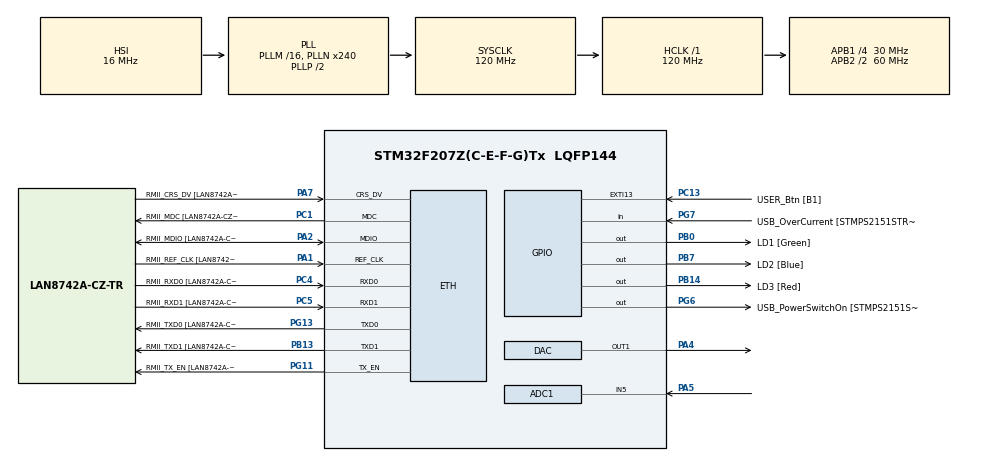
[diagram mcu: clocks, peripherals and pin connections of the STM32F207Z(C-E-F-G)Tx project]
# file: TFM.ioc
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ADC1.Channel-1\#ChannelRegularConversion=ADC_CHANNEL_5
ADC1.NbrOfConversionFlag=1
ADC1.Rank-1\#ChannelRegularConversion=1
ADC1.SamplingTime-1\#ChannelRegularConversion=ADC_SAMPLETIME_3CYCLES
ADC1.master=1
ETH.MACAddr=56\:CD\:43\:54\:4F\:52
ETH.MediaInterface=ETH_MEDIA_INTERFACE_RMII
ETH.PhyAddress=0
LWIP.GATEWAY_ADDRESS=016.000.000.001
LWIP.IP_ADDRESS=016.000.000.016
LWIP.LWIP_DHCP=0
LWIP.LWIP_STATS=1
LWIP.NETMASK_ADDRESS=255.255.255.000
LWIP.Version=v2.0.3_Cube
Mcu.Family=STM32F2
Mcu.Name=STM32F207Z(C-E-F-G)Tx
Mcu.Package=LQFP144
NVIC.ETH_IRQn=true\:0\:0\:false\:false\:true\:true\:true\:true
NVIC.PriorityGroup=NVIC_PRIORITYGROUP_4
NVIC.TIM2_IRQn=true\:1\:0\:true\:false\:true\:true\:true\:true
PA1.GPIO_Label=RMII_REF_CLK [LAN8742A-CZ-TR_REFCLK0]
PA1.Mode=RMII
PA1.Signal=ETH_REF_CLK
PA10.GPIO_Label=USB_ID
PA10.Signal=USB_OTG_FS_ID
PA11.GPIO_Label=USB_DM
PA11.Signal=USB_OTG_FS_DM
PA12.GPIO_Label=USB_DP
PA12.Signal=USB_OTG_FS_DP
PA13.GPIO_Label=TMS
PA13.Signal=SYS_JTMS-SWDIO
PA14.GPIO_Label=TCK
PA14.Signal=SYS_JTCK-SWCLK
PA2.GPIO_Label=RMII_MDIO [LAN8742A-CZ-TR_MDIO]
PA2.Mode=RMII
PA2.Signal=ETH_MDIO
PA4.Signal=COMP_DAC1_group
PA5.Signal=ADCx_IN5
PA7.GPIO_Label=RMII_CRS_DV [LAN8742A-CZ-TR_CRS_DV]
PA7.Mode=RMII
PA7.Signal=ETH_CRS_DV
PA8.GPIO_Label=USB_SOF [TP1]
PA8.Signal=USB_OTG_FS_SOF
PA9.GPIO_Label=USB_VBUS
PA9.Signal=USB_OTG_FS_VBUS
PB0.GPIO_Label=LD1 [Green]
PB0.Signal=GPIO_Output
PB13.GPIO_Label=RMII_TXD1 [LAN8742A-CZ-TR_TXD1]
PB13.Mode=RMII
PB13.Signal=ETH_TXD1
PB14.GPIO_Label=LD3 [Red]
PB14.Signal=GPIO_Output
PB3.GPIO_Label=SWO
PB3.Signal=SYS_JTDO-SWO
PB7.GPIO_Label=LD2 [Blue]
PB7.Signal=GPIO_Output
PC1.GPIO_Label=RMII_MDC [LAN8742A-CZ-TR_MDC]
PC1.Mode=RMII
PC1.Signal=ETH_MDC
PC13.GPIO_Label=USER_Btn [B1]
PC13.Signal=GPXTI13
PC14-OSC32_IN.Signal=RCC_OSC32_IN
PC15-OSC32_OUT.Signal=RCC_OSC32_OUT
PC4.GPIO_Label=RMII_RXD0 [LAN8742A-CZ-TR_RXD0]
PC4.Mode=RMII
PC4.Signal=ETH_RXD0
PC5.GPIO_Label=RMII_RXD1 [LAN8742A-CZ-TR_RXD1]
PC5.Mode=RMII
PC5.Signal=ETH_RXD1
PD8.GPIO_Label=STLK_RX [STM32F103CBT6_PA3]
PD8.Signal=USART3_TX
PD9.GPIO_Label=STLK_TX [STM32F103CBT6_PA2]
PD9.Signal=USART3_RX
PG11.GPIO_Label=RMII_TX_EN [LAN8742A-CZ-TR_TXEN]
PG11.Mode=RMII
PG11.Signal=ETH_TX_EN
PG13.GPIO_Label=RMII_TXD0 [LAN8742A-CZ-TR_TXD0]
PG13.Mode=RMII
PG13.Signal=ETH_TXD0
PG6.GPIO_Label=USB_PowerSwitchOn [STMPS2151STR_EN]
PG6.Signal=GPIO_Output
PG7.GPIO_Label=USB_OverCurrent [STMPS2151STR_FAULT]
PG7.Signal=GPIO_Input
PH0-OSC_IN.GPIO_Label=MCO [STM32F103CBT6_PA8]
PH0-OSC_IN.Signal=RCC_OSC_IN
PH1-OSC_OUT.Signal=RCC_OSC_OUT
ProjectManager.HeapSize=0x200
ProjectManager.StackSize=0x400
ProjectManager.TargetToolchain=STM32CubeIDE
RCC.48MHZClocksFreq_Value=60000000
RCC.AHBFreq_Value=120000000
RCC.APB1CLKDivider=RCC_HCLK_DIV4
RCC.APB1Freq_Value=30000000
RCC.APB1TimFreq_Value=60000000
RCC.APB2CLKDivider=RCC_HCLK_DIV2
RCC.APB2Freq_Value=60000000
RCC.APB2TimFreq_Value=120000000
RCC.CortexFreq_Value=120000000
RCC.HCLKFreq_Value=120000000
RCC.HSE_VALUE=8000000
RCC.HSI_VALUE=16000000
RCC.LSE_VALUE=32768
RCC.PLLMUL=RCC_PLL_MUL9
RCC.PLLN=240
RCC.PRESCALERUSB=RCC_USBCLKSOURCE_PLL_DIV1_5
RCC.SYSCLKFreq_VALUE=120000000
RCC.SYSCLKSource=RCC_SYSCLKSOURCE_PLLCLK
RCC.SYSCLKSourceVirtual=RCC_SYSCLKSOURCE_PLLCLK
RCC.USBFreq_Value=48000000
RCC.VCOOutputFreq_Value=240000000
SH.ADCx_IN5.0=ADC1_IN5,IN5
SH.COMP_DAC1_group.0=DAC_OUT1,DAC_OUT1
TIM2.Period=249
TIM2.Prescaler=399
VP_LWIP_VS_Enabled.Mode=Enabled
VP_TIM2_VS_ClockSourceINT.Mode=Internal
board=NUCLEO-F207ZG

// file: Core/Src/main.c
/* USER CODE BEGIN Header */
/**
 ******************************************************************************
 * @file           : main.c
 * @brief          : Main program body
 ******************************************************************************
 * @attention
 *
 * Copyright (c) 2023 STMicroelectronics.
 * All rights reserved.
 *
 * This software is licensed under terms that can be found in the LICENSE file
 * in the root directory of this software component.
 * If no LICENSE file comes with this software, it is provided AS-IS.
 *
 ******************************************************************************
 */
/* USER CODE END Header */
#include "main.h"
#include "lwip.h"

/* USER CODE BEGIN Includes */
#include <math.h>
#include "WaveGenerator.h"
/* USER CODE END Includes */

ADC_HandleTypeDef hadc1;

DAC_HandleTypeDef hdac;

TIM_HandleTypeDef htim2;

/* USER CODE BEGIN PV */

extern float sIdx; /* Sample index of DAC */
extern union {
	uint8_t ii;
	uint64_t safeMem;
} mIdx;/* Index where is stored the data measured */
extern float buffSamples[256]; /* Variable where store the samples */
extern uint16_t ADCcount; /* Count to divide the ADC sampling frequency */

extern float sampleFreq; /* Sampling DAC-ADC frequency */

extern bool flagEndTest; /* Indicates the end of the test */

extern struct waveGeneratorInfo {
	uint32_t ARR; /* Auto Reload Register for TIM2 */
	uint32_t PSC; /* Pre-scaler for TIM2 */
	float actualFreq; /* TIM2 frequency in function of ARR and PSC */
	uint8_t numPtos; /* Number of points per cycle in initialization, and while testing the number of dataOuts stored*/
	float sampleFreq; /* Sampling DAC-ADC frequency */
	float actualAmp;
	uint16_t dataOut[INIT_PTOS];

};

extern uint8_t indexDataOut; /* Index to waveGeneratorInfo.dataOut[] */

extern struct waveGeneratorInfo wgD[180]; /* This vector has all step data */

extern uint8_t tstStep; /* Index to restore the step test data*/

uint32_t dataIn; /* To store adc measures */

/* USER CODE END PV */

void SystemClock_Config(void);
static void MX_GPIO_Init(void);
static void MX_ADC1_Init(void);
static void MX_DAC_Init(void);
static void MX_TIM2_Init(void);

int main(void) {

	/* MCU Configuration--------------------------------------------------------*/

	/* Reset of all peripherals, Initializes the Flash interface and the Systick. */
	HAL_Init();

	/* Configure the system clock */
	SystemClock_Config();

	/* Initialize all configured peripherals */
	MX_GPIO_Init();
	MX_LWIP_Init();
	MX_ADC1_Init();
	MX_DAC_Init();
	MX_TIM2_Init();
	/* USER CODE BEGIN 2 */

	ptrHWparams ptrHWp;
	ptrHWp.ptrHadc1 = &hadc1;
	ptrHWp.ptrHdac = &hdac;

	/* Pre calculates all test timer parameters */
	WG.Initialice();

	udpServer_init((void*) &ptrHWp);

	/* USER CODE END 2 */
	HAL_GPIO_TogglePin(GPIOB, GPIO_PIN_7);
	/* Infinite loop */
	while (1) {

		/* USER CODE BEGIN 3 */
		MX_LWIP_Process();
	}
	/* USER CODE END 3 */
}

void SystemClock_Config(void) {
	RCC_OscInitTypeDef RCC_OscInitStruct = { 0 };
	RCC_ClkInitTypeDef RCC_ClkInitStruct = { 0 };

	/** Initializes the RCC Oscillators according to the specified parameters
	 * in the RCC_OscInitTypeDef structure.
	 */
	RCC_OscInitStruct.OscillatorType = RCC_OSCILLATORTYPE_HSI;
	RCC_OscInitStruct.HSIState = RCC_HSI_ON;
	RCC_OscInitStruct.HSICalibrationValue = RCC_HSICALIBRATION_DEFAULT;
	RCC_OscInitStruct.PLL.PLLState = RCC_PLL_ON;
	RCC_OscInitStruct.PLL.PLLSource = RCC_PLLSOURCE_HSI;
	RCC_OscInitStruct.PLL.PLLM = 16;
	RCC_OscInitStruct.PLL.PLLN = 240;
	RCC_OscInitStruct.PLL.PLLP = RCC_PLLP_DIV2;
	RCC_OscInitStruct.PLL.PLLQ = 4;
	if (HAL_RCC_OscConfig(&RCC_OscInitStruct) != HAL_OK) {
		Error_Handler();
	}

	/** Initializes the CPU, AHB and APB buses clocks
	 */
	RCC_ClkInitStruct.ClockType = RCC_CLOCKTYPE_HCLK | RCC_CLOCKTYPE_SYSCLK
			| RCC_CLOCKTYPE_PCLK1 | RCC_CLOCKTYPE_PCLK2;
	RCC_ClkInitStruct.SYSCLKSource = RCC_SYSCLKSOURCE_PLLCLK;
	RCC_ClkInitStruct.AHBCLKDivider = RCC_SYSCLK_DIV1;
	RCC_ClkInitStruct.APB1CLKDivider = RCC_HCLK_DIV4;
	RCC_ClkInitStruct.APB2CLKDivider = RCC_HCLK_DIV2;

	if (HAL_RCC_ClockConfig(&RCC_ClkInitStruct, FLASH_LATENCY_3) != HAL_OK) {
		Error_Handler();
	}
}

static void MX_ADC1_Init(void) {

	ADC_ChannelConfTypeDef sConfig = { 0 };

	/** Configure the global features of the ADC (Clock, Resolution, Data Alignment and number of conversion)
	 */
	hadc1.Instance = ADC1;
	hadc1.Init.ClockPrescaler = ADC_CLOCK_SYNC_PCLK_DIV2;
	hadc1.Init.Resolution = ADC_RESOLUTION_12B;
	hadc1.Init.ScanConvMode = DISABLE;
	hadc1.Init.ContinuousConvMode = DISABLE;
	hadc1.Init.DiscontinuousConvMode = DISABLE;
	hadc1.Init.ExternalTrigConvEdge = ADC_EXTERNALTRIGCONVEDGE_NONE;
	hadc1.Init.ExternalTrigConv = ADC_SOFTWARE_START;
	hadc1.Init.DataAlign = ADC_DATAALIGN_RIGHT;
	hadc1.Init.NbrOfConversion = 1;
	hadc1.Init.DMAContinuousRequests = DISABLE;
	hadc1.Init.EOCSelection = ADC_EOC_SINGLE_CONV;
	if (HAL_ADC_Init(&hadc1) != HAL_OK) {
		Error_Handler();
	}

	/** Configure for the selected ADC regular channel its corresponding rank in the sequencer and its sample time.
	 */
	sConfig.Channel = ADC_CHANNEL_5;
	sConfig.Rank = 1;
	sConfig.SamplingTime = ADC_SAMPLETIME_3CYCLES;
	if (HAL_ADC_ConfigChannel(&hadc1, &sConfig) != HAL_OK) {
		Error_Handler();
	}

}

static void MX_DAC_Init(void) {

	DAC_ChannelConfTypeDef sConfig = { 0 };

	/** DAC Initialization
	 */
	hdac.Instance = DAC;
	if (HAL_DAC_Init(&hdac) != HAL_OK) {
		Error_Handler();
	}

	/** DAC channel OUT1 config
	 */
	sConfig.DAC_Trigger = DAC_TRIGGER_NONE;
	sConfig.DAC_OutputBuffer = DAC_OUTPUTBUFFER_ENABLE;
	if (HAL_DAC_ConfigChannel(&hdac, &sConfig, DAC_CHANNEL_1) != HAL_OK) {
		Error_Handler();
	}

}

static void MX_TIM2_Init(void) {

	TIM_ClockConfigTypeDef sClockSourceConfig = { 0 };
	TIM_MasterConfigTypeDef sMasterConfig = { 0 };

	htim2.Instance = TIM2;
	htim2.Init.Prescaler = 399;
	htim2.Init.CounterMode = TIM_COUNTERMODE_UP;
	htim2.Init.Period = 249;
	htim2.Init.ClockDivision = TIM_CLOCKDIVISION_DIV1;
	htim2.Init.AutoReloadPreload = TIM_AUTORELOAD_PRELOAD_DISABLE;
	if (HAL_TIM_Base_Init(&htim2) != HAL_OK) {
		Error_Handler();
	}
	sClockSourceConfig.ClockSource = TIM_CLOCKSOURCE_INTERNAL;
	if (HAL_TIM_ConfigClockSource(&htim2, &sClockSourceConfig) != HAL_OK) {
		Error_Handler();
	}
	sMasterConfig.MasterOutputTrigger = TIM_TRGO_RESET;
	sMasterConfig.MasterSlaveMode = TIM_MASTERSLAVEMODE_DISABLE;
	if (HAL_TIMEx_MasterConfigSynchronization(&htim2, &sMasterConfig)
			!= HAL_OK) {
		Error_Handler();
	}

}

static void MX_GPIO_Init(void) {
	GPIO_InitTypeDef GPIO_InitStruct = { 0 };

	/* GPIO Ports Clock Enable */
	__HAL_RCC_GPIOC_CLK_ENABLE();
	__HAL_RCC_GPIOH_CLK_ENABLE();
	__HAL_RCC_GPIOA_CLK_ENABLE();
	__HAL_RCC_GPIOB_CLK_ENABLE();
	__HAL_RCC_GPIOD_CLK_ENABLE();
	__HAL_RCC_GPIOG_CLK_ENABLE();

	/*Configure GPIO pin Output Level */
	HAL_GPIO_WritePin(GPIOB, LD1_Pin | LD3_Pin | LD2_Pin, GPIO_PIN_RESET);

	/*Configure GPIO pin Output Level */
	HAL_GPIO_WritePin(USB_PowerSwitchOn_GPIO_Port, USB_PowerSwitchOn_Pin,
			GPIO_PIN_RESET);

	/*Configure GPIO pin : USER_Btn_Pin */
	GPIO_InitStruct.Pin = USER_Btn_Pin;
	GPIO_InitStruct.Mode = GPIO_MODE_IT_RISING;
	GPIO_InitStruct.Pull = GPIO_NOPULL;
	HAL_GPIO_Init(USER_Btn_GPIO_Port, &GPIO_InitStruct);

	/*Configure GPIO pins : LD1_Pin LD3_Pin LD2_Pin */
	GPIO_InitStruct.Pin = LD1_Pin | LD3_Pin | LD2_Pin;
	GPIO_InitStruct.Mode = GPIO_MODE_OUTPUT_PP;
	GPIO_InitStruct.Pull = GPIO_NOPULL;
	GPIO_InitStruct.Speed = GPIO_SPEED_FREQ_LOW;
	HAL_GPIO_Init(GPIOB, &GPIO_InitStruct);

	/*Configure GPIO pins : STLK_RX_Pin STLK_TX_Pin */
	GPIO_InitStruct.Pin = STLK_RX_Pin | STLK_TX_Pin;
	GPIO_InitStruct.Mode = GPIO_MODE_AF_PP;
	GPIO_InitStruct.Pull = GPIO_NOPULL;
	GPIO_InitStruct.Speed = GPIO_SPEED_FREQ_VERY_HIGH;
	GPIO_InitStruct.Alternate = GPIO_AF7_USART3;
	HAL_GPIO_Init(GPIOD, &GPIO_InitStruct);

	/*Configure GPIO pin : USB_PowerSwitchOn_Pin */
	GPIO_InitStruct.Pin = USB_PowerSwitchOn_Pin;
	GPIO_InitStruct.Mode = GPIO_MODE_OUTPUT_PP;
	GPIO_InitStruct.Pull = GPIO_NOPULL;
	GPIO_InitStruct.Speed = GPIO_SPEED_FREQ_LOW;
	HAL_GPIO_Init(USB_PowerSwitchOn_GPIO_Port, &GPIO_InitStruct);

	/*Configure GPIO pin : USB_OverCurrent_Pin */
	GPIO_InitStruct.Pin = USB_OverCurrent_Pin;
	GPIO_InitStruct.Mode = GPIO_MODE_INPUT;
	GPIO_InitStruct.Pull = GPIO_NOPULL;
	HAL_GPIO_Init(USB_OverCurrent_GPIO_Port, &GPIO_InitStruct);

	/*Configure GPIO pins : USB_SOF_Pin USB_ID_Pin USB_DM_Pin USB_DP_Pin */
	GPIO_InitStruct.Pin = USB_SOF_Pin | USB_ID_Pin | USB_DM_Pin | USB_DP_Pin;
	GPIO_InitStruct.Mode = GPIO_MODE_AF_PP;
	GPIO_InitStruct.Pull = GPIO_NOPULL;
	GPIO_InitStruct.Speed = GPIO_SPEED_FREQ_VERY_HIGH;
	GPIO_InitStruct.Alternate = GPIO_AF10_OTG_FS;
	HAL_GPIO_Init(GPIOA, &GPIO_InitStruct);

	/*Configure GPIO pin : USB_VBUS_Pin */
	GPIO_InitStruct.Pin = USB_VBUS_Pin;
	GPIO_InitStruct.Mode = GPIO_MODE_INPUT;
	GPIO_InitStruct.Pull = GPIO_NOPULL;
	HAL_GPIO_Init(USB_VBUS_GPIO_Port, &GPIO_InitStruct);

}

/* USER CODE BEGIN 4 */

void setTestStart(bool start) {
	start ? HAL_TIM_Base_Start_IT(&htim2) : HAL_TIM_Base_Stop_IT(&htim2);

}

void Reconfigure_TIM2(void) {

	TIM_ClockConfigTypeDef sClockSourceConfig = { 0 };
	TIM_MasterConfigTypeDef sMasterConfig = { 0 };

	htim2.Instance = TIM2;
	htim2.Init.Prescaler = wgD[tstStep].PSC;
	htim2.Init.CounterMode = TIM_COUNTERMODE_UP;
	htim2.Init.Period = wgD[tstStep].ARR;
	htim2.Init.ClockDivision = TIM_CLOCKDIVISION_DIV1;
	htim2.Init.AutoReloadPreload = TIM_AUTORELOAD_PRELOAD_DISABLE;
	if (HAL_TIM_Base_Init(&htim2) != HAL_OK) {
		Error_Handler();
	}
	sClockSourceConfig.ClockSource = TIM_CLOCKSOURCE_INTERNAL;
	if (HAL_TIM_ConfigClockSource(&htim2, &sClockSourceConfig) != HAL_OK) {
		Error_Handler();
	}
	sMasterConfig.MasterOutputTrigger = TIM_TRGO_RESET;
	sMasterConfig.MasterSlaveMode = TIM_MASTERSLAVEMODE_DISABLE;
	if (HAL_TIMEx_MasterConfigSynchronization(&htim2, &sMasterConfig)
			!= HAL_OK) {
		Error_Handler();
	}

}

/**
 * @brief  Period elapsed callback in non blocking mode
 * @note   This function is called  when TIM1 interrupt took place, inside
 * HAL_TIM_IRQHandler(). It makes a direct call to HAL_IncTick() to increment
 * a global variable "uwTick" used as application time base.
 * @param  htim : TIM handle
 * @retval None
 */
void HAL_TIM_PeriodElapsedCallback(TIM_HandleTypeDef *htim) {

	/* variable timer */
	if (htim->Instance == TIM2) {

		HAL_GPIO_TogglePin(GPIOB, GPIO_PIN_0);

		/* Reset index of dataOut to avoid push data out of memory*/
		if(indexDataOut > wgD[tstStep].numPtos) indexDataOut = 0;

		HAL_DAC_SetValue(&hdac, DAC_CHANNEL_1, DAC_ALIGN_12B_R, wgD[tstStep].dataOut[indexDataOut++]);
		HAL_DAC_Start(&hdac, DAC_CHANNEL_1);

		HAL_ADC_Start(&hadc1);
		HAL_ADC_PollForConversion(&hadc1, 1);
		dataIn = HAL_ADC_GetValue(&hadc1);
		HAL_ADC_Stop(&hadc1);
		buffSamples[mIdx.ii++] = (dataIn / DAC_CTE_CONV ) - OFFSET_UP;

		sIdx++;

		/* When the index is greater than sample freq. one second has been passed */
		if (1 < sIdx / wgD[tstStep].sampleFreq) {

			HAL_TIM_Base_Stop_IT(&htim2);
			HAL_GPIO_WritePin(GPIOB, GPIO_PIN_0, GPIO_PIN_RESET);

		}

	}
}

/* USER CODE END 4 */

void Error_Handler(void) {
	__disable_irq();
	while (1) {
	}
}
